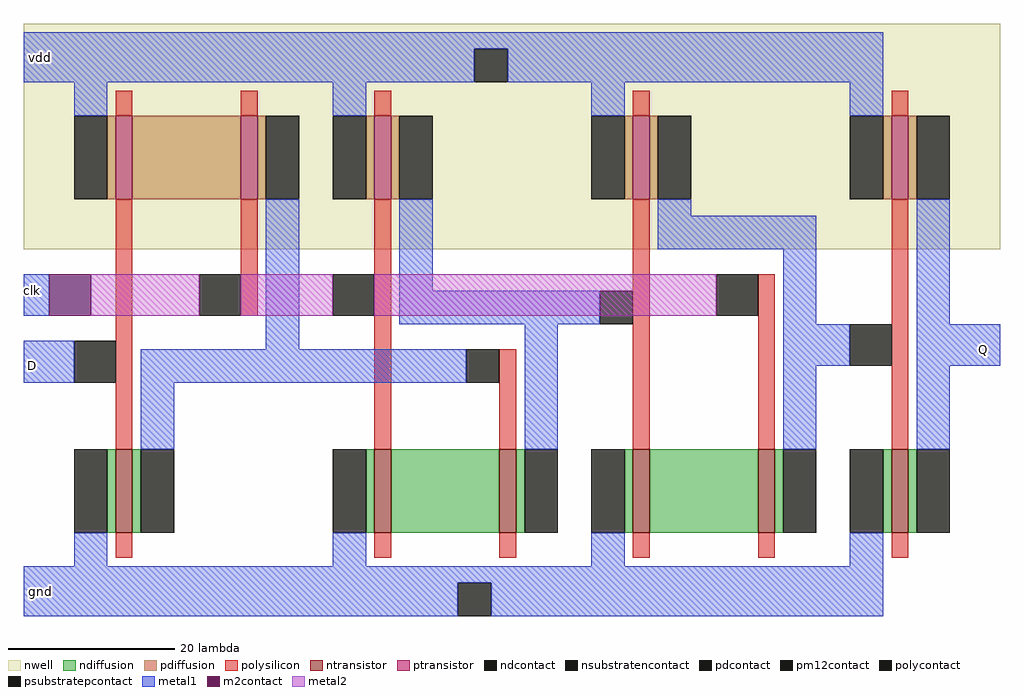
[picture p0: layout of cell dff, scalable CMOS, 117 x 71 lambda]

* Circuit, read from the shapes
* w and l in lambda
.subckt dff D Q clk gnd vdd
M1 n1 D gnd gnd nfet w=10 l=2
M2 n2 clk gnd gnd nfet w=10 l=2
M3 n3 n1 n2 gnd nfet w=10 l=2
M4 n4 n3 gnd gnd nfet w=10 l=2
M5 n5 clk n4 gnd nfet w=10 l=2
M6 Q n5 gnd gnd nfet w=10 l=2
M7 n6 D vdd vdd pfet w=10 l=2
M8 n1 clk n6 vdd pfet w=10 l=2
M9 n3 clk vdd vdd pfet w=10 l=2
M10 n5 n3 vdd vdd pfet w=10 l=2
M11 Q n5 vdd vdd pfet w=10 l=2
.ends

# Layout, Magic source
magic
tech scmos
<< nwell >>
rect 0 0 117 27
<< ntransistor >>
rect 11 -34 13 -24
rect 42 -34 44 -24
rect 57 -34 59 -24
rect 73 -34 75 -24
rect 88 -34 90 -24
rect 104 -34 106 -24
<< ptransistor >>
rect 11 6 13 16
rect 26 6 28 16
rect 42 6 44 16
rect 73 6 75 16
rect 104 6 106 16
<< ndiffusion >>
rect 10 -34 11 -24
rect 13 -34 14 -24
rect 41 -34 42 -24
rect 44 -34 57 -24
rect 59 -34 60 -24
rect 72 -34 73 -24
rect 75 -34 88 -24
rect 90 -34 91 -24
rect 103 -34 104 -24
rect 106 -34 107 -24
<< pdiffusion >>
rect 10 6 11 16
rect 13 6 26 16
rect 28 6 29 16
rect 41 6 42 16
rect 44 6 45 16
rect 72 6 73 16
rect 75 6 76 16
rect 103 6 104 16
rect 106 6 107 16
<< ndcontact >>
rect 6 -34 10 -24
rect 14 -34 18 -24
rect 37 -34 41 -24
rect 60 -34 64 -24
rect 68 -34 72 -24
rect 91 -34 95 -24
rect 99 -34 103 -24
rect 107 -34 111 -24
<< pdcontact >>
rect 6 6 10 16
rect 29 6 33 16
rect 37 6 41 16
rect 45 6 49 16
rect 68 6 72 16
rect 76 6 80 16
rect 99 6 103 16
rect 107 6 111 16
<< psubstratepcontact >>
rect 52 -44 56 -40
<< nsubstratencontact >>
rect 54 20 58 24
<< polysilicon >>
rect 11 16 13 19
rect 26 16 28 19
rect 42 16 44 19
rect 73 16 75 19
rect 104 16 106 19
rect 11 -24 13 6
rect 26 -8 28 6
rect 42 -24 44 6
rect 57 -24 59 -12
rect 73 -24 75 6
rect 88 -24 90 -3
rect 104 -24 106 6
rect 11 -37 13 -34
rect 42 -37 44 -34
rect 57 -37 59 -34
rect 73 -37 75 -34
rect 88 -37 90 -34
rect 104 -37 106 -34
<< polycontact >>
rect 6 -16 11 -11
rect 69 -9 73 -5
rect 53 -16 57 -12
rect 99 -14 104 -9
<< metal1 >>
rect 0 24 103 26
rect 0 20 54 24
rect 58 20 103 24
rect 6 16 10 20
rect 37 16 41 20
rect 68 16 72 20
rect 99 16 103 20
rect 0 -8 3 -3
rect 0 -16 6 -11
rect 29 -12 33 6
rect 45 -5 49 6
rect 76 4 80 6
rect 76 0 95 4
rect 45 -9 69 -5
rect 91 -9 95 0
rect 107 -9 111 6
rect 14 -16 53 -12
rect 14 -24 18 -16
rect 60 -24 64 -9
rect 91 -14 99 -9
rect 107 -14 117 -9
rect 91 -24 95 -14
rect 107 -24 111 -14
rect 6 -38 10 -34
rect 37 -38 41 -34
rect 68 -38 72 -34
rect 99 -38 103 -34
rect 0 -40 103 -38
rect 0 -44 52 -40
rect 56 -44 103 -40
<< m2contact >>
rect 3 -8 8 -3
<< pm12contact >>
rect 21 -8 26 -3
rect 37 -8 42 -3
rect 83 -8 88 -3
<< metal2 >>
rect 8 -8 21 -3
rect 26 -8 37 -3
rect 42 -8 83 -3
<< labels >>
rlabel metal1 1 -5 1 -5 3 clk
rlabel metal1 1 -14 1 -14 3 D
rlabel metal1 2 -41 2 -41 2 gnd
rlabel metal1 2 23 2 23 4 vdd
rlabel metal1 115 -12 115 -12 7 Q
<< end >>
